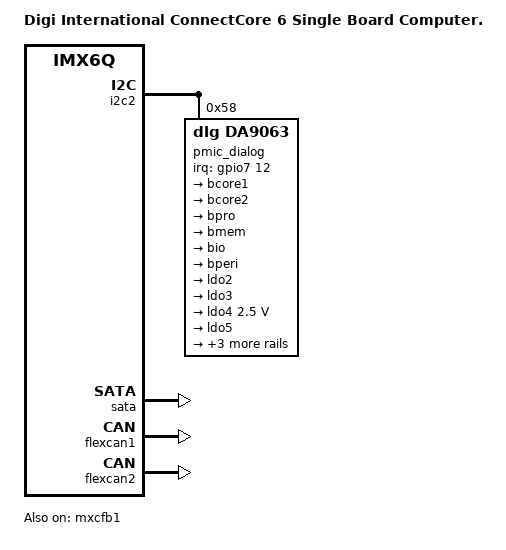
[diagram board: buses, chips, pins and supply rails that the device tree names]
/*
 * Copyright 2014 Digi International, Inc.
 * Copyright 2012 Freescale Semiconductor, Inc.
 * Copyright 2011 Linaro Ltd.
 *
 * The code contained herein is licensed under the GNU General Public
 * License. You may obtain a copy of the GNU General Public License
 * Version 2 or later at the following locations:
 *
 * http://www.opensource.org/licenses/gpl-license.html
 * http://www.gnu.org/copyleft/gpl.html
 */

/dts-v1/;

#include "imx6q.dtsi"
#include "imx6-ccimx6qdlsbc.dtsi"

/ {
	model = "Digi International ConnectCore 6 Single Board Computer.";
	compatible = "digi,ccimx6sbc", "fsl,imx6q";
	digi,machine,name = "ccimx6sbc";
};

&iomuxc {
	pmic_dialog {
		pinctrl_pmic_dialog: pmic_dialoggrp {
			fsl,pins = <
				MX6QDL_PAD_GPIO_17__GPIO7_IO12 0x1b0b0
			>;
		};
	};
};

&i2c2 {
	pmic_dialog: dialog@58 {
		compatible = "dlg,da9063";
		reg = <0x58>;
		interrupt-parent = <&gpio7>;
		interrupts = <12 2>;
		interrupt-controller;
		#interrupt-cells = <1>;
		pinctrl-names = "default";
		pinctrl-0 = <&pinctrl_pmic_dialog>;

		rtc {
			compatible = "dlg,da9063-rtc";
			interrupts = <1 2>;
			interrupts-names = "ALARM" , "TIMER";
			interrupt-parent = <&pmic_dialog>;
		};

		onkey {
			compatible = "dlg,da9063-onkey";
			interrupts = <0>;
			interrupts-names = "ONKEY";
			interrupt-parent = <&pmic_dialog>;
			dlg,key-power;
		};

		hwmon {
			compatible = "dlg,da9063-hwmon";
			interrupts = <3>;
			interrupts-names = "HWMON";
			interrupt-parent = <&pmic_dialog>;
			dlg,tjunc-offset = <(-5)>;
		};

		gpio_extender: gpio {
			compatible = "dlg,da9063-gpio";
			gpio-controller;
			#gpio-cells = <2>;
		};

		leds {
			compatible = "dlg,da9063-leds";

			lvds0-backlight@0xc6 {
				dlg,led-gpio-reg = <0x1a 0xf0>;
				dlg,led-reg = <0xc6>;
				dlg,inverse-polarity;
				linux,default-trigger = "backlight";
			};

			lvds1-backlight@0xc6 {
				dlg,led-gpio-reg = <0x1c 0xf0>;
				dlg,led-reg = <0xc8>;
				dlg,inverse-polarity;
				linux,default-trigger = "backlight";
			};
		};

		regulators {
			compatible = "dlg,da9063-regulator";
			/*dlg,bcores_merged;*/
			/*dlg,bmem_bio_merged;*/
			interrupts = <8>;
			interrupts-names = "LDO_LIM";
			interrupt-parent = <&pmic_dialog>;


			bcore1: DA9063_BCORE1 {
				regulator-name = "DA9063_BCORE1";
				regulator-boot-on;
				regulator-always-on;
				regulator-suspend-mem-microvolt = <1377000>;
				regulator-suspend-standby-microvolt = <1377000>;
			};

			bcore2: DA9063_BCORE2 {
				regulator-name = "DA9063_BCORE2";
				regulator-boot-on;
				regulator-always-on;
				regulator-suspend-mem-microvolt = <1377000>;
				regulator-suspend-standby-microvolt = <1377000>;
			};

			bpro: DA9063_BPRO {
				regulator-name = "DA9063_BPRO";
				regulator-boot-on;
				regulator-always-on;
			};

			bmem: DA9063_BMEM {
				regulator-name = "DA9063_BMEM";
				regulator-boot-on;
				regulator-always-on;
			};

			bio: DA9063_BIO {
				regulator-name = "DA9063_BIO";
				regulator-boot-on;
				regulator-always-on;
			};

			bperi: DA9063_BPERI {
				regulator-name = "DA9063_BPERI";
				regulator-boot-on;
				regulator-always-on;
				regulator-suspend-mem-microvolt = <3300000>;
				regulator-suspend-standby-microvolt = <3300000>;
			};

			ldo2: DA9063_LDO2 {
				regulator-name = "DA9063_LDO2";
				regulator-boot-on;
				regulator-always-on;
			};

			ldo3: DA9063_LDO3 {
				regulator-name = "DA9063_LDO3";
				regulator-boot-on;
				regulator-always-on;
			};

			ldo4: DA9063_LDO4 {
				regulator-name = "DA9063_LDO4";
				regulator-min-microvolt = <2500000>;
				regulator-max-microvolt = <2500000>;
			};

			ldo5: DA9063_LDO5 {
				regulator-name = "DA9063_LDO5";
				regulator-boot-on;
				regulator-always-on;
			};

			ldo6: DA9063_LDO6 {
				regulator-name = "DA9063_LDO6";
			};

			ldo11: DA9063_LDO11 {
				regulator-name = "DA9063_LDO11";
				regulator-boot-on;
				regulator-always-on;
				regulator-suspend-mem-microvolt = <2800000>;
				regulator-suspend-standby-microvolt = <2800000>;
			};

			out_32k: DA9063_32K_OUT {
				regulator-name = "DA9063_32K_OUT";
			};
		};
	};
};

&mxcfb1 {
	status = "okay";
};

&mxcfb2 {
	status = "disabled";
};

&mxcfb3 {
	status = "disabled";
};

&mxcfb4 {
	status = "disabled";
};

&sata {
	status = "okay";
};

&flexcan1 {
	pinctrl-names = "default";
	pinctrl-0 = <&pinctrl_flexcan1_2>;
	stby-gpios = <&gpio1 2 0>;
	status = "okay";
};

&flexcan2 {
	pinctrl-names = "default";
	pinctrl-0 = <&pinctrl_flexcan2_2>;
	stby-gpios = <&gpio1 5 0>;
	status = "okay";
};
